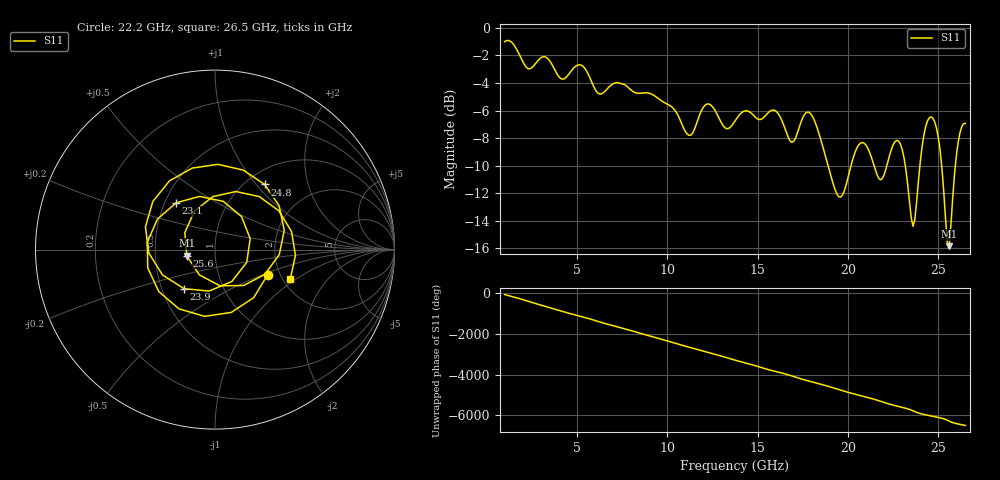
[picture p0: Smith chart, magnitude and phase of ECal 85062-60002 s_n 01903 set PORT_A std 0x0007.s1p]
!Created with skrf (http://scikit-rf.org).
# Hz S RI R 50.0
!freq ReS11 ImS11
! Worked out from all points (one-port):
!   256 points, 1 GHz to 26.5 GHz, reference 50 ohm
!   lowest |S11| = -15.8 dB at 25.6 GHz (marker M1), VSWR 1.38, Z = 36.3 - j2.47 ohm
!   |S11| at or under -10 dB: 18.9 GHz to 20.17 GHz (1.271 GHz wide, 6.51 % of centre); 23.17 GHz to 23.98 GHz (809.8 MHz wide, 3.43 % of centre); 25.19 GHz to 25.94 GHz (758.3 MHz wide, 2.97 % of centre) (the widest 3 of 4)
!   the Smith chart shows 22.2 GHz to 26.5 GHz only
!   S11 on the Smith chart (normalised r, x): 22.2 GHz: 1.73, -0.54; 23.1 GHz: 0.57, +0.34; 23.9 GHz: 0.65, -0.31; 24.8 GHz: 1.21, +1.11; 25.6 GHz: 0.73, -0.05; 26.5 GHz: 2.19, -0.90
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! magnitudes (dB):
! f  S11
! 1 GHz  -1.0
! 4.2 GHz  -3.7
! 5.2 GHz  -2.7
! 7.4 GHz  -4.0
! 10.6 GHz  -6.4
! 11.2 GHz  -7.8
! 12.2 GHz  -5.5
! 13.8 GHz  -6.7
! 15.9 GHz  -6.0
! 17 GHz  -8.2
! 17.9 GHz  -6.2
! 19.5 GHz  -12.3
! 20.2 GHz  -9.9
! 20.8 GHz  -8.3
! 21.8 GHz  -11.0
! 22.2 GHz  -9.8
! 22.7 GHz  -8.2
! 23.1 GHz  -9.4
! 23.4 GHz  -12.5
! 23.6 GHz  -14.4
! 23.9 GHz  -11.1
! 24.3 GHz  -7.2
! 24.8 GHz  -6.8
! 25.1 GHz  -8.9
! 25.5 GHz  -15.6
! 25.6 GHz  -15.8
! 26 GHz  -9.3
! 26.5 GHz  -6.9
